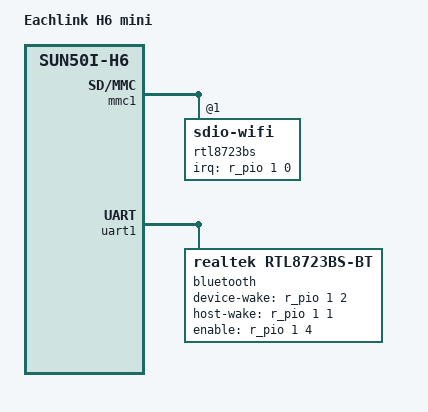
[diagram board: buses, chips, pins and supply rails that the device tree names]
// SPDX-License-Identifier: (GPL-2.0+ OR MIT)
// Copyright (c) 2022 Arm Ltd.

/dts-v1/;

#include "sun50i-h6-tanix.dtsi"

/ {
	model = "Eachlink H6 mini";
	compatible = "eachlink,h6-mini", "allwinner,sun50i-h6";
};

&ehci3 {
	status = "disabled";
};

&led_display {
	sda-gpios = <&pio 3 26 (GPIO_ACTIVE_HIGH|GPIO_OPEN_DRAIN)>; /* PD26 */
	scl-gpios = <&pio 7 3 (GPIO_ACTIVE_HIGH|GPIO_OPEN_DRAIN)>; /* PH3 */
};

&mmc1 {
	rtl8723bs: sdio-wifi@1 {
		reg = <1>;
		interrupt-parent = <&r_pio>;
		interrupts = <1 0 IRQ_TYPE_LEVEL_LOW>; /* PM0 */
		interrupt-names = "host-wake";
	};
};

&ohci3 {
	status = "disabled";
};

&uart1 {
	pinctrl-names = "default";
	pinctrl-0 = <&uart1_pins>, <&uart1_rts_cts_pins>;
	uart-has-rtscts;
	status = "okay";

	bluetooth {
		compatible = "realtek,rtl8723bs-bt";
		device-wake-gpios = <&r_pio 1 2 GPIO_ACTIVE_HIGH>; /* PM2 */
		host-wake-gpios = <&r_pio 1 1 GPIO_ACTIVE_HIGH>; /* PM1 */
		enable-gpios = <&r_pio 1 4 GPIO_ACTIVE_HIGH>; /* PM4 */
	};
};
